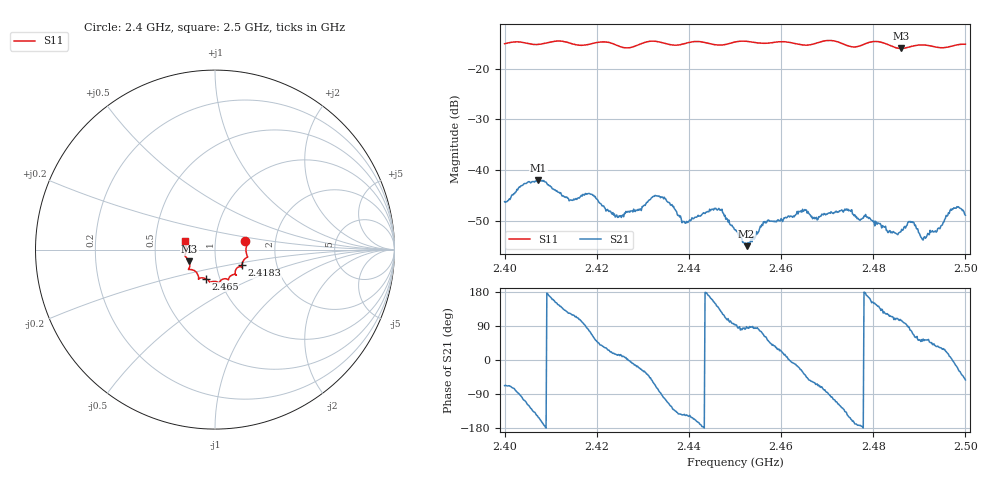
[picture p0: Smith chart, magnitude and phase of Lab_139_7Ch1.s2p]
# Hz S RI R 50
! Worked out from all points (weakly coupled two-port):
!   601 points, 2.4 GHz to 2.5 GHz, reference 50 ohm
!   highest |S21| = -41.99 dB at 2.4073 GHz (marker M1); lowest = -54.9 dB at 2.4525 GHz (marker M2)
!   lowest |S11| = -16.0 dB at 2.486 GHz (marker M3), VSWR 1.37, Z = 37.2 - j4.98 ohm
!   |S11| at or under -10 dB: start of sweep to end of sweep
!   S12 and S22 are empty: the file has one direction only
!   S11 on the Smith chart (normalised r, x): 2.4 GHz: 1.40, +0.13; 2.4183 GHz: 1.33, -0.24; 2.465 GHz: 0.86, -0.29; 2.5 GHz: 0.71, +0.07
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2.4e9  0.1695 0.0459  0.00187 -0.00454  0 0  0 0
2.407333e9  0.1727 -0.00749  -0.00702 -0.00374  0 0  0 0
2.414333e9  0.1704 -0.0479  -0.0027 0.00435  0 0  0 0
2.416667e9  0.1549 -0.068  -0.00115 0.00556  0 0  0 0
2.418333e9  0.15 -0.0871  0.00132 0.00578  0 0  0 0
2.4245e9  0.1385 -0.0955  0.00336 0.000755  0 0  0 0
2.433333e9  0.1175 -0.1409  0.00112 -0.00542  0 0  0 0
2.439e9  0.078 -0.1573  -0.00251 -0.00187  0 0  0 0
2.446e9  0.053 -0.1623  -0.00328 0.00248  0 0  0 0
2.45e9  0.0253 -0.1808  -0.000175 0.00259  0 0  0 0
2.4525e9  0.0204 -0.1844  6.28e-05 0.00179  0 0  0 0
2.456667e9  -0.00685 -0.1771  0.00145 0.00266  0 0  0 0
2.465e9  -0.0525 -0.1619  0.00319 -0.00242  0 0  0 0
2.466667e9  -0.0716 -0.1573  0.00196 -0.00293  0 0  0 0
2.474333e9  -0.0965 -0.1379  -0.0033 -0.00236  0 0  0 0
2.483333e9  -0.1414 -0.0965  -0.00122 0.00213  0 0  0 0
2.486e9  -0.1434 -0.0654  -0.00061 0.00241  0 0  0 0
2.488333e9  -0.1595 -0.0443  0.000767 0.00303  0 0  0 0
2.491e9  -0.1675 -0.0338  0.00138 0.0017  0 0  0 0
2.494167e9  -0.1609 -0.00661  0.00223 0.00152  0 0  0 0
2.497167e9  -0.1643 0.0292  0.00418 1.58e-06  0 0  0 0
2.5e9  -0.1672 0.047  0.0022 -0.00287  0 0  0 0
